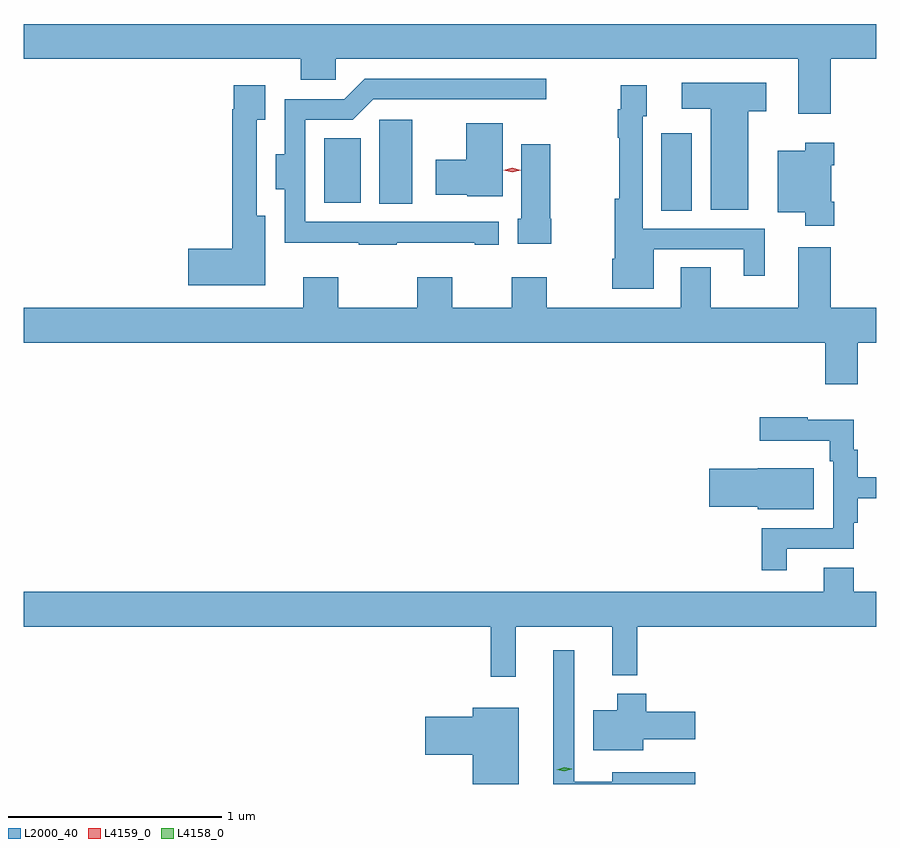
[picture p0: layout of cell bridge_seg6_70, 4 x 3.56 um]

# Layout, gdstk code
import gdstk
lib = gdstk.Library(unit=1e-6, precision=1e-09)
def R(c, l, rs):  # rectangles x0, y0, x1, y1
    for r in rs: c.add(gdstk.rectangle(r[:2], r[2:], *l))
def P(c, l, *ps):  # polygons
    for p in ps: c.add(gdstk.Polygon(p, *l))
L2000_40 = (2000, 40)
L4158_0 = (4158, 0)
L4159_0 = (4159, 0)

bridge_seg6_70 = lib.new_cell('bridge_seg6_70')
R(bridge_seg6_70, L2000_40, [(771.413,978.592,771.556,978.955), (770.09,978.625,770.245,979.02), (769.832,978.629,770.002,978.931)])
P(bridge_seg6_70, L2000_40, [(772.208,979.304),(772.421,979.304),(772.421,979.468),(768.421,979.468),(768.421,979.304),(769.721,979.304),(769.721,979.206),(769.884,979.206),(769.884,979.304),(772.055,979.304),(772.055,979.047),(772.208,979.047)],
  [(770.171,978.443),(770.537,978.443),(770.537,978.432),(770.65,978.432),(770.65,978.54),(769.743,978.54),(769.743,979.02),(769.965,979.02),(770.061,979.116),(770.872,979.116),(770.872,979.212),(770.022,979.212),(769.926,979.116),(769.646,979.116),(769.646,978.856),(769.604,978.856),(769.604,978.692),(769.647,978.692),(769.647,978.443),(769.993,978.443),(769.993,978.432),(770.171,978.432)],
  [(771.82,979.058),(771.904,979.058),(771.904,979.192),(771.507,979.192),(771.507,979.07),(771.644,979.07),(771.644,978.596),(771.82,978.596)],
  [(769.555,978.568),(769.515,978.568),(769.515,979.019),(769.555,979.019),(769.555,979.18),(769.407,979.18),(769.407,979.067),(769.399,979.067),(769.399,978.413),(769.194,978.413),(769.194,978.242),(769.555,978.242)],
  [(771.376,978.411),(771.8,978.411),(771.8,978.288),(771.898,978.288),(771.898,978.507),(771.324,978.507),(771.324,979.035),(771.343,979.035),(771.343,979.18),(771.221,979.18),(771.221,979.067),(771.208,979.067),(771.208,978.935),(771.216,978.935),(771.216,978.649),(771.194,978.649),(771.194,978.366),(771.182,978.366),(771.182,978.227),(771.376,978.227)],
  [(770.668,979.003),(770.498,979.003),(770.498,978.832),(770.355,978.832),(770.355,978.668),(770.502,978.668),(770.502,978.659),(770.668,978.659)],
  [(772.223,978.634),(772.21,978.634),(772.21,978.806),(772.223,978.806),(772.223,978.91),(772.088,978.91),(772.088,978.874),(771.959,978.874),(771.959,978.584),(772.088,978.584),(772.088,978.522),(772.223,978.522)],
  [(770.896,978.555),(770.892,978.555),(770.892,978.904),(770.756,978.904),(770.756,978.555),(770.738,978.555),(770.738,978.437),(770.896,978.437)],
  [(772.333,977.972),(772.421,977.972),(772.421,978.136),(772.208,978.136),(772.208,978.421),(772.055,978.421),(772.055,978.136),(771.643,978.136),(771.643,978.326),(771.503,978.326),(771.503,978.136),(770.875,978.136),(770.875,978.28),(770.711,978.28),(770.711,978.136),(770.431,978.136),(770.431,978.28),(770.267,978.28),(770.267,978.136),(769.897,978.136),(769.897,978.28),(769.733,978.28),(769.733,978.136),(768.421,978.136),(768.421,977.972),(772.181,977.972),(772.181,977.778),(772.333,977.778)],
  [(772,977.007),(772.315,977.007),(772.315,977.129),(772.334,977.129),(772.334,977.243),(772.421,977.243),(772.421,977.342),(772.334,977.342),(772.334,977.472),(772.315,977.472),(772.315,977.611),(772.098,977.611),(772.098,977.623),(771.873,977.623),(771.873,977.514),(772.203,977.514),(772.203,977.417),(772.218,977.417),(772.218,977.103),(771.883,977.103),(771.883,976.905),(772,976.905)],
  [(772.128,977.385),(771.864,977.385),(771.864,977.381),(771.636,977.381),(771.636,977.203),(771.864,977.203),(771.864,977.192),(772.128,977.192)],
  [(770.729,976.64),(771.182,976.64),(771.182,976.412),(771.299,976.412),(771.299,976.64),(772.421,976.64),(772.421,976.804),(772.315,976.804),(772.315,976.918),(772.175,976.918),(772.175,976.804),(768.421,976.804),(768.421,976.64),(770.611,976.64),(770.611,976.407),(770.729,976.407)],
  [(771.571,975.958),(771.182,975.958),(771.182,975.913),(771.003,975.913),(771.003,976.531),(770.906,976.531),(770.906,975.903),(771.571,975.903)],
  [(771.328,976.112),(771.571,976.112),(771.571,976.242),(771.341,976.242),(771.341,976.327),(771.206,976.327),(771.206,976.249),(771.092,976.249),(771.092,976.061),(771.328,976.061)],
  [(770.743,976.261),(770.528,976.261),(770.528,976.218),(770.304,976.218),(770.304,976.04),(770.528,976.04),(770.528,975.903),(770.743,975.903)])
P(bridge_seg6_70, L4158_0, [(770.957,975.962),(770.922,975.971),(770.921,975.971),(770.922,975.971),(770.957,975.982),(770.993,975.974),(770.993,975.974),(770.993,975.973)])
P(bridge_seg6_70, L4159_0, [(770.713,978.773),(770.672,978.783),(770.672,978.783),(770.672,978.783),(770.713,978.793),(770.754,978.783),(770.754,978.783),(770.754,978.783)])

lib.write_gds('bridge_seg6_70.gds')
